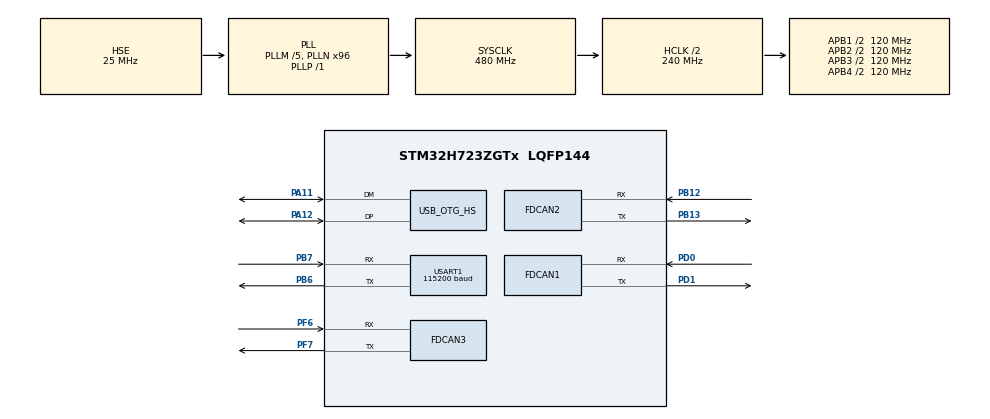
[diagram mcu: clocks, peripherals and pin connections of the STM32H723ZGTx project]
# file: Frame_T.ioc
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CORTEX_M7.default_mode_Activation=1
Dma.Request0=USART1_TX
Dma.USART1_TX.0.Direction=DMA_MEMORY_TO_PERIPH
Dma.USART1_TX.0.EventEnable=DISABLE
Dma.USART1_TX.0.FIFOMode=DMA_FIFOMODE_DISABLE
Dma.USART1_TX.0.Instance=DMA1_Stream0
Dma.USART1_TX.0.MemDataAlignment=DMA_MDATAALIGN_BYTE
Dma.USART1_TX.0.MemInc=DMA_MINC_ENABLE
Dma.USART1_TX.0.Mode=DMA_NORMAL
Dma.USART1_TX.0.PeriphDataAlignment=DMA_PDATAALIGN_BYTE
Dma.USART1_TX.0.PeriphInc=DMA_PINC_DISABLE
Dma.USART1_TX.0.Polarity=HAL_DMAMUX_REQ_GEN_RISING
Dma.USART1_TX.0.Priority=DMA_PRIORITY_MEDIUM
Dma.USART1_TX.0.RequestNumber=1
Dma.USART1_TX.0.SignalID=NONE
Dma.USART1_TX.0.SyncEnable=DISABLE
Dma.USART1_TX.0.SyncPolarity=HAL_DMAMUX_SYNC_NO_EVENT
Dma.USART1_TX.0.SyncRequestNumber=1
Dma.USART1_TX.0.SyncSignalID=NONE
FDCAN1.CalculateBaudRateNominal=1000000
FDCAN1.CalculateTimeBitNominal=1000
FDCAN1.CalculateTimeQuantumNominal=25.0
FDCAN1.DataPrescaler=3
FDCAN1.DataSyncJumpWidth=10
FDCAN1.DataTimeSeg1=29
FDCAN1.DataTimeSeg2=10
FDCAN1.NominalPrescaler=3
FDCAN1.NominalSyncJumpWidth=10
FDCAN1.NominalTimeSeg1=29
FDCAN1.NominalTimeSeg2=10
FDCAN1.ProtocolException=ENABLE
FDCAN1.RxFifo0ElmtsNbr=3
FDCAN1.StdFiltersNbr=1
FDCAN1.TxFifoQueueElmtsNbr=3
FDCAN2.CalculateBaudRateNominal=1000000
FDCAN2.CalculateTimeBitNominal=1000
FDCAN2.CalculateTimeQuantumNominal=25.0
FDCAN2.DataPrescaler=3
FDCAN2.DataSyncJumpWidth=10
FDCAN2.DataTimeSeg1=29
FDCAN2.DataTimeSeg2=10
FDCAN2.NominalPrescaler=3
FDCAN2.NominalSyncJumpWidth=10
FDCAN2.NominalTimeSeg1=29
FDCAN2.NominalTimeSeg2=10
FDCAN2.ProtocolException=ENABLE
FDCAN2.RxFifo0ElmtsNbr=3
FDCAN2.StdFiltersNbr=1
FDCAN2.TxFifoQueueElmtsNbr=3
FDCAN3.CalculateBaudRateNominal=1000000
FDCAN3.CalculateTimeBitNominal=1000
FDCAN3.CalculateTimeQuantumNominal=25.0
FDCAN3.DataPrescaler=3
FDCAN3.DataSyncJumpWidth=10
FDCAN3.DataTimeSeg1=29
FDCAN3.DataTimeSeg2=10
FDCAN3.NominalPrescaler=3
FDCAN3.NominalSyncJumpWidth=10
FDCAN3.NominalTimeSeg1=29
FDCAN3.NominalTimeSeg2=10
FDCAN3.ProtocolException=ENABLE
FDCAN3.RxFifo0ElmtsNbr=3
FDCAN3.StdFiltersNbr=1
FDCAN3.TxFifoQueueElmtsNbr=3
FREERTOS.Tasks01=defaultTask,24,128,StartDefaultTask,Default,NULL,Dynamic,NULL,NULL
Mcu.Family=STM32H7
Mcu.Name=STM32H723ZGTx
Mcu.Package=LQFP144
NVIC.DMA1_Stream0_IRQn=true\:5\:0\:false\:false\:true\:true\:false\:true\:true
NVIC.FDCAN1_IT0_IRQn=true\:6\:0\:true\:false\:true\:true\:true\:true\:true
NVIC.FDCAN2_IT0_IRQn=true\:7\:0\:true\:false\:true\:true\:true\:true\:true
NVIC.FDCAN3_IT0_IRQn=true\:8\:0\:true\:false\:true\:true\:true\:true\:true
NVIC.OTG_HS_IRQn=true\:5\:0\:false\:false\:true\:true\:false\:true\:true
NVIC.PriorityGroup=NVIC_PRIORITYGROUP_4
NVIC.TIM4_IRQn=true\:5\:0\:false\:false\:true\:true\:true\:true\:true
NVIC.TIM6_DAC_IRQn=true\:6\:0\:true\:false\:true\:true\:true\:true\:true
NVIC.TIM8_UP_TIM13_IRQn=true\:15\:0\:false\:false\:true\:false\:false\:true\:true
NVIC.TimeBase=TIM8_UP_TIM13_IRQn
NVIC.TimeBaseIP=TIM8
NVIC.USART1_IRQn=true\:5\:0\:false\:false\:true\:true\:true\:true\:true
PA11.Mode=Device_Only_FS
PA11.Signal=USB_OTG_HS_DM
PA12.Mode=Device_Only_FS
PA12.Signal=USB_OTG_HS_DP
PA13(JTMS/SWDIO).Mode=Serial_Wire
PA13(JTMS/SWDIO).Signal=DEBUG_JTMS-SWDIO
PA14(JTCK/SWCLK).Mode=Serial_Wire
PA14(JTCK/SWCLK).Signal=DEBUG_JTCK-SWCLK
PB12.Mode=FDCAN_Activate
PB12.Signal=FDCAN2_RX
PB13.Mode=FDCAN_Activate
PB13.Signal=FDCAN2_TX
PB6.Mode=Asynchronous
PB6.Signal=USART1_TX
PB7.Mode=Asynchronous
PB7.Signal=USART1_RX
PD0.Mode=FDCAN_Activate
PD0.Signal=FDCAN1_RX
PD1.Mode=FDCAN_Activate
PD1.Signal=FDCAN1_TX
PF6.Mode=FDCAN_Activate
PF6.Signal=FDCAN3_RX
PF7.Mode=FDCAN_Activate
PF7.Signal=FDCAN3_TX
PH0-OSC_IN.Mode=HSE-External-Oscillator
PH0-OSC_IN.Signal=RCC_OSC_IN
PH1-OSC_OUT.Mode=HSE-External-Oscillator
PH1-OSC_OUT.Signal=RCC_OSC_OUT
ProjectManager.HeapSize=0x200
ProjectManager.StackSize=0x400
ProjectManager.TargetToolchain=MDK-ARM V5.32
RCC.ADCFreq_Value=50390625
RCC.APB1Freq_Value=120000000
RCC.APB2Freq_Value=120000000
RCC.APB3Freq_Value=120000000
RCC.APB4Freq_Value=120000000
RCC.CortexFreq_Value=480000000
RCC.D1PPRE=RCC_APB3_DIV2
RCC.D2PPRE1=RCC_APB1_DIV2
RCC.D2PPRE2=RCC_APB2_DIV2
RCC.D3PPRE=RCC_APB4_DIV2
RCC.DIVM1=5
RCC.DIVN1=96
RCC.DIVP1=1
RCC.DIVQ1=4
RCC.HCLKFreq_Value=240000000
RCC.HPRE=RCC_HCLK_DIV2
RCC.PLL2FRACN=0
RCC.PLLFRACN=0
RCC.PLLSourceVirtual=RCC_PLLSOURCE_HSE
RCC.SYSCLKFreq_VALUE=480000000
RCC.SYSCLKSource=RCC_SYSCLKSOURCE_PLLCLK
RCC.USBFreq_Value=120000000
STMicroelectronics.X-CUBE-ALGOBUILD.1.4.0.LibraryCcDSPOoLibraryJjDSPOoLibrary=true
TIM4.Prescaler=239
TIM6.Period=99
TIM6.Prescaler=2399
USART1.BaudRate=115200
USART1.VirtualMode-Asynchronous=VM_ASYNC
USB_DEVICE.CLASS_NAME_HS=CDC
USB_DEVICE.VirtualMode=Cdc
USB_DEVICE.VirtualModeHS=Cdc_HS
USB_OTG_HS.VirtualMode-Device_Only_FS=Device_Only_FS
VP_FREERTOS_VS_CMSIS_V2.Mode=CMSIS_V2
VP_MEMORYMAP_VS_MEMORYMAP.Mode=CurAppReg
VP_STMicroelectronics.X-CUBE-ALGOBUILD_VS_DSPOoLibraryJjLibrary_1.4.0_1.4.0.Mode=DSPOoLibraryJjLibrary
VP_SYS_VS_tim8.Mode=TIM8
VP_TIM4_VS_ClockSourceINT.Mode=Internal
VP_TIM6_VS_ClockSourceINT.Mode=Enable_Timer
VP_USB_DEVICE_VS_USB_DEVICE_CDC_HS.Mode=CDC_HS
board=custom

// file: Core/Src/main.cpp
/* USER CODE BEGIN Header */
/**
  ******************************************************************************
  * @file           : main.c
  * @brief          : Main program body
  ******************************************************************************
  * @attention
  *
  * Copyright (c) 2025 STMicroelectronics.
  * All rights reserved.
  *
  * This software is licensed under terms that can be found in the LICENSE file
  * in the root directory of this software component.
  * If no LICENSE file comes with this software, it is provided AS-IS.
  *
  ******************************************************************************
  */
/* USER CODE END Header */
#include "main.h"
#include "cmsis_os.h"
#include "fdcan.h"
#include "tim.h"
#include "usart.h"
#include "gpio.h"

/* USER CODE BEGIN Includes */

/*FRAMEDEMO_BEGIN*/
#include "frame_demo.h"
/*FRAMEDEMO_END*/

/* USER CODE END Includes */

/* USER CODE BEGIN PM */
#include "Setup_ConfigInit.h"
/* USER CODE END PM */

/* USER CODE BEGIN PV */
extern void fdcan_global_scheduler_tick_isr(void);
/* USER CODE END PV */

void SystemClock_Config(void);
static void MPU_Config(void);

/* USER CODE BEGIN PFP */
#ifdef __cplusplus
extern "C"{
#endif
void MX_FREERTOS_Init(void);

#ifdef __cplusplus
}
#endif
/* USER CODE END PFP */

/* USER CODE BEGIN 0 */
// CanTest test_demo(&hfdcan1, 0x001); // CAN1 测试实例
/* USER CODE END 0 */

int main(void)
{

  /* MPU Configuration--------------------------------------------------------*/
  MPU_Config();

  /* MCU Configuration--------------------------------------------------------*/

  /* Reset of all peripherals, Initializes the Flash interface and the Systick. */
  HAL_Init();

  /* USER CODE BEGIN Init */
  MX_DMA_Init();
  /* USER CODE END Init */

  /* Configure the system clock */
  SystemClock_Config();

  /* Initialize all configured peripherals */
  MX_GPIO_Init();
  MX_FDCAN1_Init();
  MX_FDCAN2_Init();
  MX_FDCAN3_Init();
  MX_USART1_UART_Init();
  MX_TIM6_Init();
  MX_TIM4_Init();
  /* USER CODE BEGIN 2 */
  HAL_TIM_Base_Start_IT(&htim6); //启动定时器不然CAN任务不会跑的
  ALL_Setup_ConfigInit();

  /* USER CODE END 2 */

  /* Init scheduler */
  osKernelInitialize();  /* Call init function for freertos objects (in cmsis_os2.c) */
  MX_FREERTOS_Init();

  /* Start scheduler */
  osKernelStart();

  /* We should never get here as control is now taken by the scheduler */

  /* Infinite loop */
  while (1)
  {

  }
}

void SystemClock_Config(void)
{
  RCC_OscInitTypeDef RCC_OscInitStruct = {0};
  RCC_ClkInitTypeDef RCC_ClkInitStruct = {0};

  /** Supply configuration update enable
  */
  HAL_PWREx_ConfigSupply(PWR_LDO_SUPPLY);

  /** Configure the main internal regulator output voltage
  */
  __HAL_PWR_VOLTAGESCALING_CONFIG(PWR_REGULATOR_VOLTAGE_SCALE0);

  while(!__HAL_PWR_GET_FLAG(PWR_FLAG_VOSRDY)) {}

  /** Initializes the RCC Oscillators according to the specified parameters
  * in the RCC_OscInitTypeDef structure.
  */
  RCC_OscInitStruct.OscillatorType = RCC_OSCILLATORTYPE_HSE;
  RCC_OscInitStruct.HSEState = RCC_HSE_ON;
  RCC_OscInitStruct.PLL.PLLState = RCC_PLL_ON;
  RCC_OscInitStruct.PLL.PLLSource = RCC_PLLSOURCE_HSE;
  RCC_OscInitStruct.PLL.PLLM = 5;
  RCC_OscInitStruct.PLL.PLLN = 96;
  RCC_OscInitStruct.PLL.PLLP = 1;
  RCC_OscInitStruct.PLL.PLLQ = 4;
  RCC_OscInitStruct.PLL.PLLR = 2;
  RCC_OscInitStruct.PLL.PLLRGE = RCC_PLL1VCIRANGE_2;
  RCC_OscInitStruct.PLL.PLLVCOSEL = RCC_PLL1VCOWIDE;
  RCC_OscInitStruct.PLL.PLLFRACN = 0;
  if (HAL_RCC_OscConfig(&RCC_OscInitStruct) != HAL_OK)
  {
    Error_Handler();
  }

  /** Initializes the CPU, AHB and APB buses clocks
  */
  RCC_ClkInitStruct.ClockType = RCC_CLOCKTYPE_HCLK|RCC_CLOCKTYPE_SYSCLK
                              |RCC_CLOCKTYPE_PCLK1|RCC_CLOCKTYPE_PCLK2
                              |RCC_CLOCKTYPE_D3PCLK1|RCC_CLOCKTYPE_D1PCLK1;
  RCC_ClkInitStruct.SYSCLKSource = RCC_SYSCLKSOURCE_PLLCLK;
  RCC_ClkInitStruct.SYSCLKDivider = RCC_SYSCLK_DIV1;
  RCC_ClkInitStruct.AHBCLKDivider = RCC_HCLK_DIV2;
  RCC_ClkInitStruct.APB3CLKDivider = RCC_APB3_DIV2;
  RCC_ClkInitStruct.APB1CLKDivider = RCC_APB1_DIV2;
  RCC_ClkInitStruct.APB2CLKDivider = RCC_APB2_DIV2;
  RCC_ClkInitStruct.APB4CLKDivider = RCC_APB4_DIV2;

  if (HAL_RCC_ClockConfig(&RCC_ClkInitStruct, FLASH_LATENCY_3) != HAL_OK)
  {
    Error_Handler();
  }
}

 /* MPU Configuration */

void MPU_Config(void)
{
  MPU_Region_InitTypeDef MPU_InitStruct = {0};

  /* Disables the MPU */
  HAL_MPU_Disable();

  /** Initializes and configures the Region and the memory to be protected
  */
  MPU_InitStruct.Enable = MPU_REGION_ENABLE;
  MPU_InitStruct.Number = MPU_REGION_NUMBER0;
  MPU_InitStruct.BaseAddress = 0x0;
  MPU_InitStruct.Size = MPU_REGION_SIZE_4GB;
  MPU_InitStruct.SubRegionDisable = 0x87;
  MPU_InitStruct.TypeExtField = MPU_TEX_LEVEL0;
  MPU_InitStruct.AccessPermission = MPU_REGION_NO_ACCESS;
  MPU_InitStruct.DisableExec = MPU_INSTRUCTION_ACCESS_DISABLE;
  MPU_InitStruct.IsShareable = MPU_ACCESS_SHAREABLE;
  MPU_InitStruct.IsCacheable = MPU_ACCESS_NOT_CACHEABLE;
  MPU_InitStruct.IsBufferable = MPU_ACCESS_NOT_BUFFERABLE;

  HAL_MPU_ConfigRegion(&MPU_InitStruct);
  /* Enables the MPU */
  HAL_MPU_Enable(MPU_PRIVILEGED_DEFAULT);

}

void HAL_TIM_PeriodElapsedCallback(TIM_HandleTypeDef *htim)
{
  if (htim->Instance == TIM8)
  {
    HAL_IncTick();
  }
  /* USER CODE BEGIN Callback 1 */
  if(htim->Instance == TIM6)
  {
    fdcan_global_scheduler_tick_isr();
  }

    if (htim->Instance == TIM4) // 假设你使用的是 TIM4
    {
        TimeStamp::overflowCallback();
    }
  /* USER CODE END Callback 1 */
}

void Error_Handler(void)
{
  __disable_irq();
  while (1)
  {
  }
}
